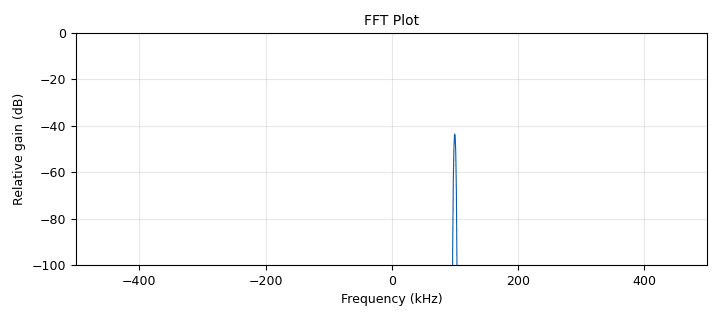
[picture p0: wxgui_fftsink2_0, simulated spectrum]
<?xml version='1.0' encoding='utf-8'?>
<?grc format='1' created='3.7.10'?>
<flow_graph>
<block>
<key>options</key>
<param><key>id</key><value>top_block</value></param>
<param><key>generate_options</key><value>wx_gui</value></param>
</block>
<block>
<key>variable_slider</key>
<param><key>id</key><value>freq</value></param>
<param><key>converver</key><value>float_converter</value></param>
<param><key>value</key><value>1e5</value></param>
<param><key>label</key><value></value></param>
<param><key>max</key><value>5e5</value></param>
<param><key>min</key><value>1</value></param>
<param><key>num_steps</key><value>100</value></param>
<param><key>style</key><value>wx.SL_HORIZONTAL</value></param>
</block>
<block>
<key>variable_slider</key>
<param><key>id</key><value>gain</value></param>
<param><key>converver</key><value>float_converter</value></param>
<param><key>value</key><value>.01</value></param>
<param><key>label</key><value></value></param>
<param><key>max</key><value>1</value></param>
<param><key>min</key><value>0</value></param>
<param><key>num_steps</key><value>100</value></param>
<param><key>style</key><value>wx.SL_HORIZONTAL</value></param>
</block>
<block>
<key>variable</key>
<param><key>id</key><value>samp_rate</value></param>
<param><key>value</key><value>1e6</value></param>
</block>
<block>
<key>analog_sig_source_x</key>
<param><key>id</key><value>analog_sig_source_x_0</value></param>
<param><key>amp</key><value>1</value></param>
<param><key>freq</key><value>freq</value></param>
<param><key>offset</key><value>0</value></param>
<param><key>type</key><value>complex</value></param>
<param><key>samp_rate</key><value>samp_rate</value></param>
<param><key>waveform</key><value>analog.GR_COS_WAVE</value></param>
</block>
<block>
<key>blocks_multiply_const_vxx</key>
<param><key>id</key><value>blocks_multiply_const_vxx_0</value></param>
<param><key>const</key><value>gain</value></param>
<param><key>type</key><value>complex</value></param>
</block>
<block>
<key>uhd_usrp_sink</key>
<param><key>id</key><value>uhd_usrp_sink_0</value></param>
<param><key>ant0</key><value></value></param>
<param><key>center_freq0</key><value>3.5e6</value></param>
<param><key>norm_gain0</key><value>False</value></param>
<param><key>gain0</key><value>0</value></param>
<param><key>clock_rate</key><value>0.0</value></param>
<param><key>dev_addr</key><value>addr0=192.168.10.2</value></param>
<param><key>dev_args</key><value>""</value></param>
<param><key>type</key><value>fc32</value></param>
<param><key>samp_rate</key><value>samp_rate</value></param>
<param><key>hide_cmd_port</key><value>False</value></param>
<param><key>hide_lo_controls</key><value>True</value></param>
<param><key>sync</key><value></value></param>
<param><key>len_tag_name</key><value></value></param>
</block>
<block>
<key>wxgui_fftsink2</key>
<param><key>id</key><value>wxgui_fftsink2_0</value></param>
<param><key>avg_alpha</key><value>0</value></param>
<param><key>average</key><value>False</value></param>
<param><key>baseband_freq</key><value>0</value></param>
<param><key>fft_size</key><value>1024</value></param>
<param><key>freqvar</key><value>None</value></param>
<param><key>peak_hold</key><value>False</value></param>
<param><key>ref_level</key><value>0</value></param>
<param><key>ref_scale</key><value>2.0</value></param>
<param><key>fft_rate</key><value>15</value></param>
<param><key>samp_rate</key><value>samp_rate</value></param>
<param><key>title</key><value>FFT Plot</value></param>
<param><key>type</key><value>complex</value></param>
<param><key>win</key><value>None</value></param>
<param><key>y_divs</key><value>10</value></param>
<param><key>y_per_div</key><value>10</value></param>
</block>
<connection><source_block_id>analog_sig_source_x_0</source_block_id><sink_block_id>blocks_multiply_const_vxx_0</sink_block_id><source_key>0</source_key><sink_key>0</sink_key></connection>
<connection><source_block_id>blocks_multiply_const_vxx_0</source_block_id><sink_block_id>uhd_usrp_sink_0</sink_block_id><source_key>0</source_key><sink_key>0</sink_key></connection>
<connection><source_block_id>blocks_multiply_const_vxx_0</source_block_id><sink_block_id>wxgui_fftsink2_0</sink_block_id><source_key>0</source_key><sink_key>0</sink_key></connection>
</flow_graph>
